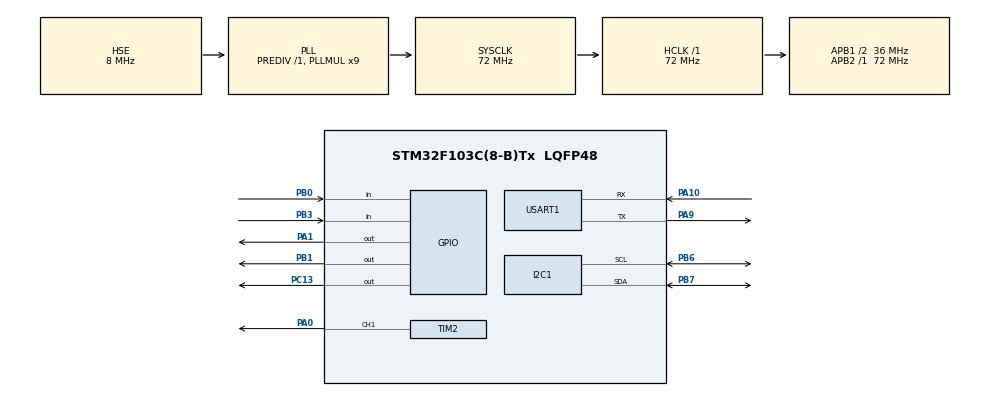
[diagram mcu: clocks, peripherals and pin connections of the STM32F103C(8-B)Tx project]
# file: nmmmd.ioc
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Mcu.Family=STM32F1
Mcu.Name=STM32F103C(8-B)Tx
Mcu.Package=LQFP48
NVIC.PriorityGroup=NVIC_PRIORITYGROUP_4
NVIC.TIM4_IRQn=true\:15\:0\:false\:false\:true\:false\:true\:true
NVIC.TimeBase=TIM4_IRQn
NVIC.TimeBaseIP=TIM4
PA0-WKUP.Signal=S_TIM2_CH1_ETR
PA1.GPIO_PuPd=GPIO_PULLUP
PA1.Signal=GPIO_Output
PA10.Mode=Asynchronous
PA10.Signal=USART1_RX
PA13.Mode=Serial_Wire
PA13.Signal=SYS_JTMS-SWDIO
PA14.Mode=Serial_Wire
PA14.Signal=SYS_JTCK-SWCLK
PA9.Mode=Asynchronous
PA9.Signal=USART1_TX
PB0.Signal=GPIO_Input
PB1.Signal=GPIO_Output
PB3.Signal=GPIO_Input
PB6.Mode=I2C
PB6.Signal=I2C1_SCL
PB7.Mode=I2C
PB7.Signal=I2C1_SDA
PC13-TAMPER-RTC.Signal=GPIO_Output
PD0-OSC_IN.Mode=HSE-External-Oscillator
PD0-OSC_IN.Signal=RCC_OSC_IN
PD1-OSC_OUT.Mode=HSE-External-Oscillator
PD1-OSC_OUT.Signal=RCC_OSC_OUT
ProjectManager.HeapSize=0x200
ProjectManager.StackSize=0x400
ProjectManager.TargetToolchain=MDK-ARM V5.32
RCC.AHBFreq_Value=72000000
RCC.APB1CLKDivider=RCC_HCLK_DIV2
RCC.APB1Freq_Value=36000000
RCC.APB1TimFreq_Value=72000000
RCC.APB2Freq_Value=72000000
RCC.APB2TimFreq_Value=72000000
RCC.HCLKFreq_Value=72000000
RCC.PLLMUL=RCC_PLL_MUL9
RCC.PLLSourceVirtual=RCC_PLLSOURCE_HSE
RCC.SYSCLKFreq_VALUE=72000000
RCC.SYSCLKSource=RCC_SYSCLKSOURCE_PLLCLK
RCC.USBFreq_Value=72000000
SH.S_TIM2_CH1_ETR.0=TIM2_CH1,PWM Generation1 CH1
TIM2.Channel-PWM\ Generation1\ CH1=TIM_CHANNEL_1
TIM2.Period=19999
TIM2.Prescaler=71
TIM2.Pulse-PWM\ Generation1\ CH1=500
USART1.VirtualMode=VM_ASYNC
VP_SYS_VS_tim4.Mode=TIM4
VP_TIM2_VS_ClockSourceINT.Mode=Internal
board=custom

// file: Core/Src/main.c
/* USER CODE BEGIN Header */
/**
  ******************************************************************************
  * @file           : main.c
  * @brief          : Main program body
  ******************************************************************************
  * @attention
  *
  * Copyright (c) 2024 STMicroelectronics.
  * All rights reserved.
  *
  * This software is licensed under terms that can be found in the LICENSE file
  * in the root directory of this software component.
  * If no LICENSE file comes with this software, it is provided AS-IS.
  *
  ******************************************************************************
  */
/* USER CODE END Header */
#include "main.h"
#include "i2c.h"
#include "tim.h"
#include "usart.h"
#include "gpio.h"

/* USER CODE BEGIN Includes */
#include "driver_ds18b20.h"

/* USER CODE END Includes */

/* USER CODE BEGIN PTD */
double temperature;
/* USER CODE END PTD */

void SystemClock_Config(void);

int main(void)
{

  /* MCU Configuration--------------------------------------------------------*/

  /* Reset of all peripherals, Initializes the Flash interface and the Systick. */
  HAL_Init();

  /* Configure the system clock */
  SystemClock_Config();

  /* Initialize all configured peripherals */
  MX_GPIO_Init();
  MX_TIM2_Init();
  MX_USART1_UART_Init();
  MX_I2C1_Init();
  /* USER CODE BEGIN 2 */
  DS18B20_Init();

    // 启动PWM
  HAL_TIM_PWM_Start (&htim2,TIM_CHANNEL_1);
  __HAL_TIM_SetCompare (&htim2,TIM_CHANNEL_1 ,500);
  /* USER CODE END 2 */

  DS18B20_Init();  // 初始化DS18B20
  GPIO_PinState pb0_state; //shuidi
  GPIO_PinState pb3_state; //shuiwei
  /* Infinite loop */
  /* USER CODE BEGIN WHILE */
  while (1)
  {
	pb0_state = HAL_GPIO_ReadPin(GPIOB, GPIO_PIN_0);
    pb3_state = HAL_GPIO_ReadPin(GPIOB, GPIO_PIN_3);

    if (DS18B20_Read_Temperature(&temperature) == 0)
    {
      /* Check if temperature is greater than 30 degrees */

      if (temperature > 30.0)
      {
        /* Turn on LED (PC13) */
        HAL_GPIO_WritePin(GPIOB, GPIO_PIN_1, GPIO_PIN_SET); // Assuming active low LED
      }
      else
      {
        /* Turn off LED (PC13) */
        HAL_GPIO_WritePin(GPIOB, GPIO_PIN_1, GPIO_PIN_RESET); // Assuming active low LED
      }
    }

    if (pb0_state == GPIO_PIN_RESET && pb3_state == GPIO_PIN_SET) {
      HAL_GPIO_WritePin(GPIOC, GPIO_PIN_13, GPIO_PIN_RESET); // 点亮LED (PC13)
      __HAL_TIM_SET_COMPARE(&htim2, TIM_CHANNEL_1, 1500); // 假设1500为90度的PWM值
    } else if(pb0_state == GPIO_PIN_SET || pb3_state == GPIO_PIN_RESET){
      HAL_GPIO_WritePin(GPIOC, GPIO_PIN_13, GPIO_PIN_SET);   // 熄灭LED (PC13)
      __HAL_TIM_SET_COMPARE(&htim2, TIM_CHANNEL_1, 500); // 假设1500为90度的PWM值
    }

    /* Delay to avoid rapid polling */

    /* USER CODE END WHILE */

  }
}
void SystemClock_Config(void)
{
  RCC_OscInitTypeDef RCC_OscInitStruct = {0};
  RCC_ClkInitTypeDef RCC_ClkInitStruct = {0};

  /** Initializes the RCC Oscillators according to the specified parameters
  * in the RCC_OscInitTypeDef structure.
  */
  RCC_OscInitStruct.OscillatorType = RCC_OSCILLATORTYPE_HSE;
  RCC_OscInitStruct.HSEState = RCC_HSE_ON;
  RCC_OscInitStruct.HSEPredivValue = RCC_HSE_PREDIV_DIV1;
  RCC_OscInitStruct.HSIState = RCC_HSI_ON;
  RCC_OscInitStruct.PLL.PLLState = RCC_PLL_ON;
  RCC_OscInitStruct.PLL.PLLSource = RCC_PLLSOURCE_HSE;
  RCC_OscInitStruct.PLL.PLLMUL = RCC_PLL_MUL9;
  if (HAL_RCC_OscConfig(&RCC_OscInitStruct) != HAL_OK)
  {
    Error_Handler();
  }

  /** Initializes the CPU, AHB and APB buses clocks
  */
  RCC_ClkInitStruct.ClockType = RCC_CLOCKTYPE_HCLK|RCC_CLOCKTYPE_SYSCLK
                              |RCC_CLOCKTYPE_PCLK1|RCC_CLOCKTYPE_PCLK2;
  RCC_ClkInitStruct.SYSCLKSource = RCC_SYSCLKSOURCE_PLLCLK;
  RCC_ClkInitStruct.AHBCLKDivider = RCC_SYSCLK_DIV1;
  RCC_ClkInitStruct.APB1CLKDivider = RCC_HCLK_DIV2;
  RCC_ClkInitStruct.APB2CLKDivider = RCC_HCLK_DIV1;

  if (HAL_RCC_ClockConfig(&RCC_ClkInitStruct, FLASH_LATENCY_2) != HAL_OK)
  {
    Error_Handler();
  }
}

void HAL_TIM_PeriodElapsedCallback(TIM_HandleTypeDef *htim)
{
  if (htim->Instance == TIM4) {
    HAL_IncTick();
  }
}

void Error_Handler(void)
{
  __disable_irq();
  while (1)
  {
  }
}
